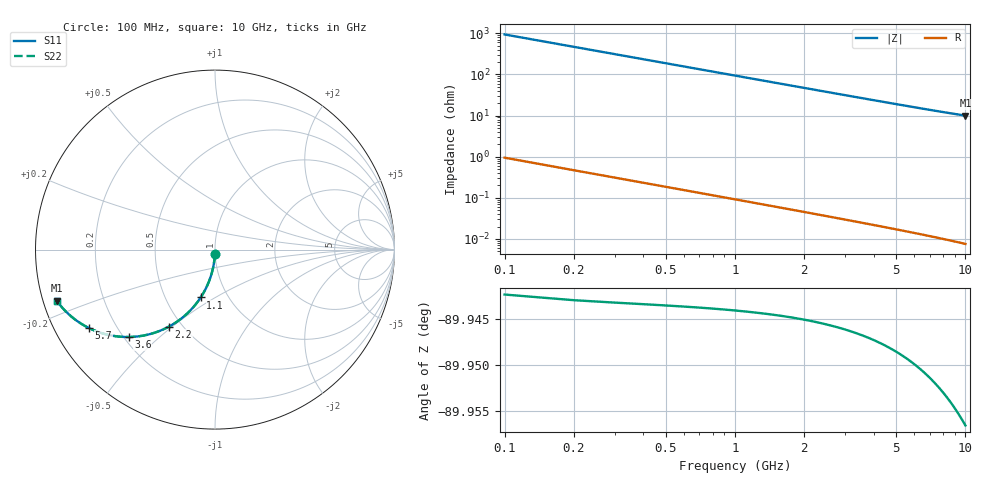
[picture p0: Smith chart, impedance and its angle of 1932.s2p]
# Hz S RI R 50.00
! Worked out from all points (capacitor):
!   100 points, 100 MHz to 10 GHz, reference 50 ohm
!   read as one part in shunt: C = 1.7 pF near 100 MHz
!   lowest |Z| = 9.96 ohm at 10 GHz (marker M1)
!   S11 on the Smith chart (normalised r, x): 100 MHz: 1.00, -0.05; 1.1 GHz: 0.75, -0.43; 2.2 GHz: 0.43, -0.49; 3.6 GHz: 0.22, -0.40; 5.7 GHz: 0.10, -0.28; 10 GHz: 0.04, -0.16
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1e8  -0.000658 -0.0263  0.9992 -0.027  0.9992 -0.027  -0.000658 -0.0263
2e8  -0.00281 -0.0525  0.997 -0.0538  0.997 -0.0538  -0.00281 -0.0525
3e8  -0.00635 -0.0785  0.9935 -0.0805  0.9935 -0.0805  -0.00635 -0.0785
4e8  -0.0113 -0.1041  0.9886 -0.1068  0.9886 -0.1068  -0.0113 -0.1041
5e8  -0.0175 -0.1293  0.9823 -0.1326  0.9823 -0.1326  -0.0175 -0.1293
6e8  -0.025 -0.1539  0.9748 -0.1579  0.9748 -0.1579  -0.025 -0.1539
7e8  -0.0337 -0.178  0.9661 -0.1826  0.9661 -0.1826  -0.0337 -0.178
9e8  -0.0546 -0.2238  0.9452 -0.2299  0.9452 -0.2299  -0.0546 -0.2238
1.1e9  -0.0794 -0.2663  0.9204 -0.2737  0.9204 -0.2737  -0.0794 -0.2663
1.4e9  -0.1226 -0.3229  0.8772 -0.3323  0.8772 -0.3323  -0.1226 -0.3229
1.8e9  -0.1877 -0.3841  0.812 -0.3961  0.812 -0.3961  -0.1877 -0.3841
2.2e9  -0.2568 -0.4291  0.7429 -0.4438  0.7429 -0.4438  -0.2568 -0.4291
2.8e9  -0.3593 -0.4699  0.6404 -0.4888  0.6404 -0.4888  -0.3593 -0.4699
3.4e9  -0.4531 -0.4858  0.5464 -0.5088  0.5464 -0.5088  -0.4531 -0.4858
3.6e9  -0.4818 -0.487  0.5178 -0.5114  0.5178 -0.5114  -0.4818 -0.487
4.3e9  -0.5709 -0.4798  0.4285 -0.509  0.4285 -0.509  -0.5709 -0.4798
5.1e9  -0.6527 -0.458  0.3465 -0.4929  0.3465 -0.4929  -0.6527 -0.458
5.7e9  -0.7021 -0.437  0.297 -0.4762  0.297 -0.4762  -0.7021 -0.437
6.7e9  -0.7662 -0.3991  0.2326 -0.4455  0.2326 -0.4455  -0.7662 -0.3991
7.5e9  -0.805 -0.3689  0.1934 -0.4212  0.1934 -0.4212  -0.805 -0.3689
8.4e9  -0.8391 -0.3365  0.159 -0.3955  0.159 -0.3955  -0.8391 -0.3365
1e10  -0.8821 -0.2846  0.1151 -0.356  0.1151 -0.356  -0.8821 -0.2846
